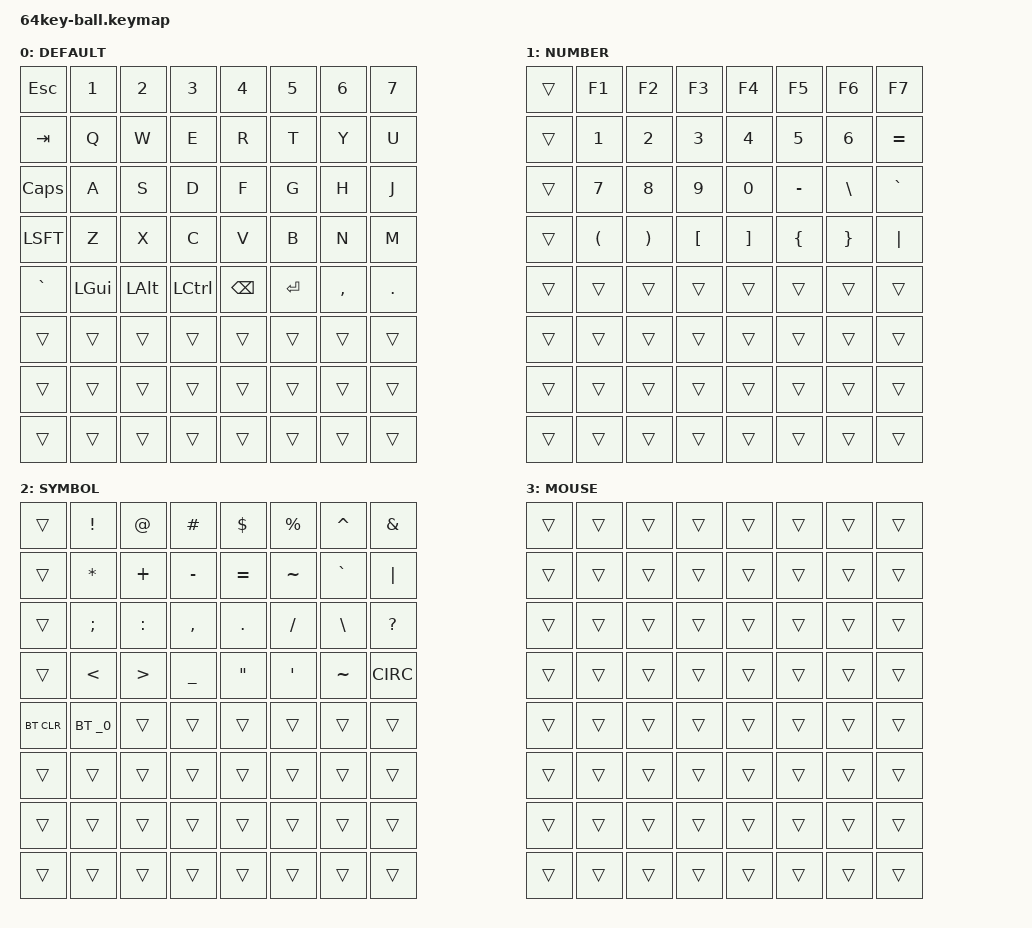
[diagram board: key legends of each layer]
/ {
    keymap {
        compatible = "zmk,keymap";

        default_layer {
            label = "DEFAULT";
            bindings = <
                &kp ESC   &kp N1   &kp N2   &kp N3   &kp N4   &kp N5   &kp N6   &kp N7
                &kp TAB   &kp Q    &kp W    &kp E    &kp R    &kp T    &kp Y    &kp U
                &kp CAPS  &kp A    &kp S    &kp D    &kp F    &kp G    &kp H    &kp J
                &kp LSFT  &kp Z    &kp X    &kp C    &kp V    &kp B    &kp N    &kp M
                &kp GRAVE &kp LGUI &kp LALT &kp LCTRL &kp BSPC &kp RET  &kp COMMA &kp DOT
                &trans    &trans   &trans   &trans   &trans   &trans   &trans   &trans
                &trans    &trans   &trans   &trans   &trans   &trans   &trans   &trans
                &trans    &trans   &trans   &trans   &trans   &trans   &trans   &trans
            >;
        };

        number_layer {
            label = "NUMBER";
            bindings = <
                &trans &kp F1   &kp F2   &kp F3   &kp F4   &kp F5    &kp F6    &kp F7
                &trans &kp N1   &kp N2   &kp N3   &kp N4   &kp N5    &kp N6    &kp EQUAL
                &trans &kp N7   &kp N8   &kp N9   &kp N0   &kp MINUS &kp BSLH  &kp GRAVE
                &trans &kp LPAR &kp RPAR &kp LBKT &kp RBKT &kp LBRC  &kp RBRC  &kp PIPE
                &trans &trans   &trans   &trans   &trans   &trans    &trans    &trans
                &trans &trans   &trans   &trans   &trans   &trans    &trans    &trans
                &trans &trans   &trans   &trans   &trans   &trans    &trans    &trans
                &trans &trans   &trans   &trans   &trans   &trans    &trans    &trans
            >;
        };

        symbol_layer {
            label = "SYMBOL";
            bindings = <
                &trans   &kp EXCL  &kp AT    &kp HASH  &kp DLLR  &kp PRCNT &kp CARET &kp AMPS
                &trans   &kp STAR  &kp PLUS  &kp MINUS &kp EQUAL &kp TILDE &kp GRAVE &kp PIPE
                &trans   &kp SEMI  &kp COLON &kp COMMA &kp DOT   &kp SLASH &kp BSLH  &kp QMARK
                &trans   &kp LT    &kp GT    &kp UNDER &kp DQT   &kp SQT   &kp TILDE &kp CIRC
                &bt BT_CLR &bt BT_SEL_0 &trans &trans  &trans    &trans    &trans    &trans
                &trans   &trans   &trans   &trans   &trans   &trans   &trans   &trans
                &trans   &trans   &trans   &trans   &trans   &trans   &trans   &trans
                &trans   &trans   &trans   &trans   &trans   &trans   &trans   &trans
            >;
        };

        mouse_layer {
            label = "MOUSE";
            bindings = <
                &trans &trans &trans &trans &trans &trans &trans &trans
                &trans &trans &trans &trans &trans &trans &trans &trans
                &trans &trans &trans &trans &trans &trans &trans &trans
                &trans &trans &trans &trans &trans &trans &trans &trans
                &trans &trans &trans &trans &trans &trans &trans &trans
                &trans &trans &trans &trans &trans &trans &trans &trans
                &trans &trans &trans &trans &trans &trans &trans &trans
                &trans &trans &trans &trans &trans &trans &trans &trans
            >;
        };
    };
};
